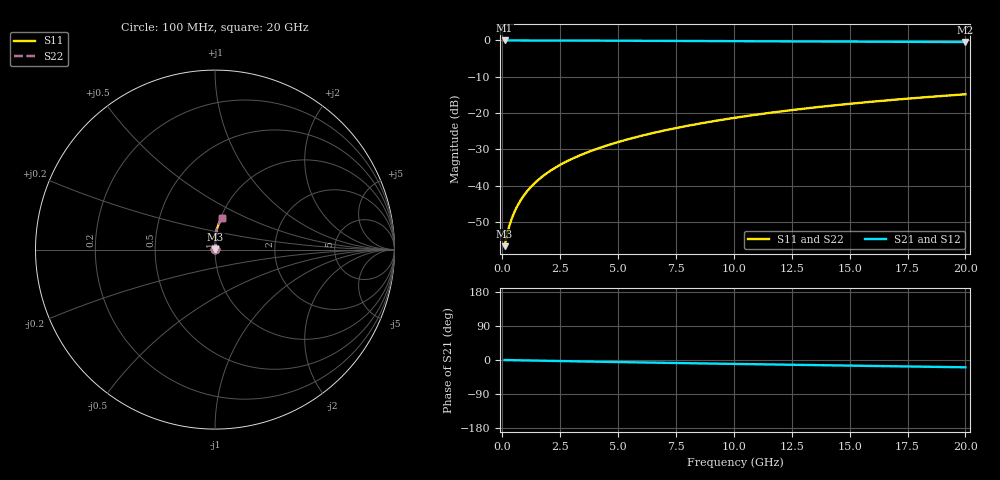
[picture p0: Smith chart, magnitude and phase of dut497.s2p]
! Touchstone file exported from HFSS 2024.1.0
!  File:  C:/UserFiles/LocalFiles/RDL_TSV_Batchsim/temp_RDL_bottom_497_1779687073.aedt
!  Generated:  01:33:48 PM May 25, 2026
!  Design:  RDL_bottom
!  Project:  temp_RDL_bottom_497_1779687073
!  Setup:  Setup1
!  Solution:  Sweep
! Variables:
!  dtsv = 10.80580581um
!  hbump = 3um
!  htsv = 92.79um
!  ldown = 270.33um
!  lrdl = 100um
!  p = 40
!  p1 = 44.06um
!  rhole = 1um
!  t = 450um
!  tdown = 4.17um
!  trdl = 3.915915916um
!  wdown = 22.84um
!  wrdl = 20um
# GHz S MA R 50.000000
! Terminal data exported
! Port[1] = RDL1_T1
! Port[2] = RDL1_T2
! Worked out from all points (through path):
!   200 points, 100 MHz to 20 GHz, reference 50 ohm
!   highest |S21| = -0.01 dB at 100 MHz (marker M1); lowest = -0.5 dB at 20 GHz (marker M2)
!   group delay of S21, straight-line fit = 2.64 ps
!   lowest |S11| = -56.6 dB at 100 MHz (marker M3), VSWR 1.00, Z = 50.1 + j0.0872 ohm
!   |S11| at or under -10 dB: start of sweep to end of sweep
!   |S22| runs from -56.6 to -14.8 dB; largest |S21 - S12| = 4.2e-15
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0.1  0.00148 36.0  0.9988 -0.1  0.9988 -0.1  0.00148 36.0
! Gamma 0 0 0 0
! Port Impedance 50 0 50 0
0.2  0.002108 52.9  0.9987 -0.2  0.9987 -0.2  0.002108 52.9
0.3  0.00279 61.5  0.9986 -0.3  0.9986 -0.3  0.00279 61.5
0.4  0.003487 66.9  0.9985 -0.5  0.9985 -0.5  0.003487 66.9
0.5  0.004197 70.7  0.9985 -0.6  0.9985 -0.6  0.004197 70.7
0.6  0.004918 73.5  0.9984 -0.7  0.9984 -0.7  0.004918 73.5
0.8  0.006386 77.3  0.9983 -0.9  0.9983 -0.9  0.006386 77.3
1.1  0.008632 80.8  0.998 -1.2  0.998 -1.2  0.008632 80.8
1.3  0.01015 82.3  0.9978 -1.5  0.9978 -1.5  0.01015 82.3
1.6  0.01244 83.9  0.9975 -1.8  0.9975 -1.8  0.01244 83.9
2.1  0.01631 85.7  0.9969 -2.3  0.9969 -2.3  0.01631 85.7
2.7  0.02103 87.0  0.9959 -3.0  0.9959 -3.0  0.02103 87.0
3.5  0.02746 88.1  0.9943 -3.9  0.9943 -3.9  0.02746 88.1
4.2  0.03323 88.7  0.9927 -4.6  0.9927 -4.6  0.03323 88.7
5  0.04001 89.1  0.9906 -5.4  0.9906 -5.4  0.04001 89.1
6.8  0.05593 89.1  0.9857 -7.2  0.9857 -7.2  0.05592 89.1
8.4  0.07073 88.5  0.9811 -8.8  0.9811 -8.8  0.07072 88.5
10.1  0.0869 87.3  0.9762 -10.4  0.9762 -10.4  0.08689 87.3
11.7  0.1023 85.9  0.9717 -11.9  0.9717 -11.9  0.1023 85.9
13.4  0.1188 84.3  0.967 -13.4  0.967 -13.4  0.1188 84.3
16.7  0.1506 81.0  0.9582 -16.3  0.9582 -16.3  0.1506 81.0
20  0.1817 77.6  0.9495 -19.2  0.9495 -19.2  0.1817 77.6
